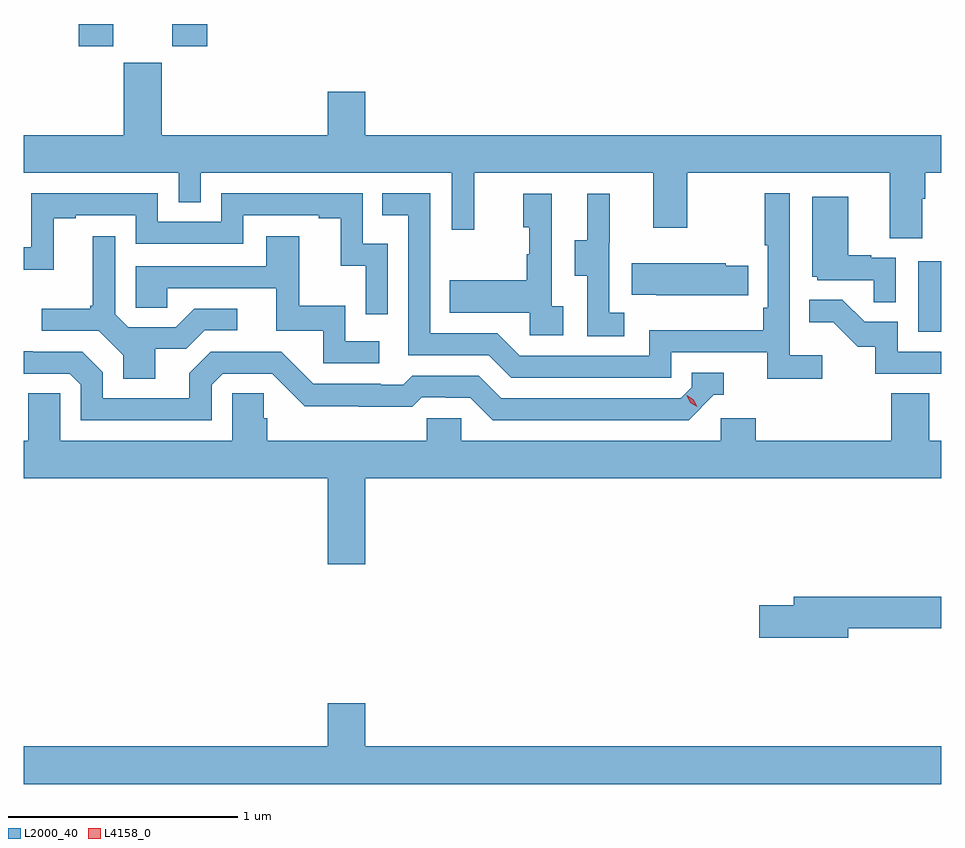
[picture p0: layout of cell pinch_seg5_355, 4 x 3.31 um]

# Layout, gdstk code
import gdstk
lib = gdstk.Library(unit=1e-6, precision=1e-09)
def R(c, l, rs):  # rectangles x0, y0, x1, y1
    for r in rs: c.add(gdstk.rectangle(r[:2], r[2:], *l))
def P(c, l, *ps):  # polygons
    for p in ps: c.add(gdstk.Polygon(p, *l))
L2000_40 = (2000, 40)
L4158_0 = (4158, 0)

pinch_seg5_355 = lib.new_cell('pinch_seg5_355')
R(pinch_seg5_355, L2000_40, [(970.778,885.372,970.879,885.679), (967.118,886.617,967.27,886.713), (967.526,886.617,967.679,886.713)])
P(pinch_seg5_355, L2000_40, [(970.795,885.952),(970.808,885.952),(970.808,886.064),(970.879,886.064),(970.879,886.228),(968.368,886.228),(968.368,886.417),(968.204,886.417),(968.204,886.228),(967.48,886.228),(967.48,886.545),(967.316,886.545),(967.316,886.228),(966.879,886.228),(966.879,886.064),(967.554,886.064),(967.554,885.937),(967.65,885.937),(967.65,886.064),(968.745,886.064),(968.745,885.816),(968.843,885.816),(968.843,886.064),(969.623,886.064),(969.623,885.825),(969.771,885.825),(969.771,886.064),(970.655,886.064),(970.655,885.778),(970.795,885.778)],
  [(970.36,885.268),(970.218,885.268),(970.218,885.976),(970.11,885.976),(970.11,885.748),(970.122,885.748),(970.122,885.475),(970.102,885.475),(970.102,885.379),(969.606,885.379),(969.606,885.267),(969.042,885.267),(968.943,885.366),(968.652,885.366),(968.652,885.975),(968.443,885.975),(968.443,885.879),(968.556,885.879),(968.556,885.27),(968.906,885.27),(969.005,885.171),(969.702,885.171),(969.702,885.282),(970.121,885.282),(970.121,885.166),(970.36,885.166)],
  [(968.466,885.756),(968.358,885.756),(968.358,885.975),(967.74,885.975),(967.74,885.852),(967.464,885.852),(967.464,885.975),(966.912,885.975),(966.912,885.739),(966.879,885.739),(966.879,885.641),(967.009,885.641),(967.009,885.867),(967.105,885.867),(967.105,885.879),(967.368,885.879),(967.368,885.756),(967.836,885.756),(967.836,885.879),(968.165,885.879),(968.165,885.867),(968.261,885.867),(968.261,885.659),(968.37,885.659),(968.37,885.447),(968.466,885.447)],
  [(969.232,885.482),(969.18,885.482),(969.18,885.973),(969.056,885.973),(969.056,885.828),(969.082,885.828),(969.082,885.71),(969.072,885.71),(969.072,885.595),(968.737,885.595),(968.737,885.455),(969.084,885.455),(969.084,885.357),(969.232,885.357)],
  [(969.496,885.455),(969.432,885.455),(969.432,885.759),(969.434,885.759),(969.434,885.973),(969.335,885.973),(969.335,885.771),(969.281,885.771),(969.281,885.616),(969.336,885.616),(969.336,885.352),(969.496,885.352)],
  [(970.68,885.693),(970.574,885.693),(970.574,885.706),(970.474,885.706),(970.474,885.961),(970.316,885.961),(970.316,885.612),(970.338,885.612),(970.338,885.597),(970.585,885.597),(970.585,885.499),(970.68,885.499)],
  [(967.453,885.298),(967.588,885.298),(967.668,885.378),(967.81,885.378),(967.81,885.471),(967.622,885.471),(967.541,885.39),(967.335,885.39),(967.278,885.447),(967.278,885.787),(967.181,885.787),(967.181,885.484),(967.17,885.484),(967.17,885.472),(966.957,885.472),(966.957,885.375),(967.206,885.375),(967.313,885.268),(967.313,885.166),(967.453,885.166)],
  [(968.428,885.33),(968.28,885.33),(968.28,885.484),(968.081,885.484),(968.081,885.787),(967.937,885.787),(967.937,885.657),(967.368,885.657),(967.368,885.477),(967.505,885.477),(967.505,885.561),(967.979,885.561),(967.979,885.375),(968.184,885.375),(968.184,885.234),(968.428,885.234)],
  [(970.037,885.66),(969.939,885.66),(969.939,885.67),(969.529,885.67),(969.529,885.533),(969.637,885.533),(969.637,885.53),(970.037,885.53)],
  [(970.879,885.285),(970.689,885.285),(970.689,885.414),(970.545,885.414),(970.447,885.512),(970.303,885.512),(970.303,885.413),(970.407,885.413),(970.514,885.306),(970.591,885.306),(970.591,885.189),(970.879,885.189)],
  [(967.698,885.141),(967.746,885.189),(967.962,885.189),(968.104,885.047),(968.34,885.047),(968.34,885.045),(968.573,885.045),(968.615,885.087),(968.718,885.087),(968.718,885.084),(968.825,885.084),(968.924,884.985),(969.777,884.985),(969.888,885.096),(969.931,885.096),(969.931,885.192),(969.792,885.192),(969.792,885.129),(969.744,885.081),(968.961,885.081),(968.862,885.18),(968.573,885.18),(968.534,885.141),(968.435,885.141),(968.435,885.144),(968.142,885.144),(968.001,885.285),(967.695,885.285),(967.601,885.191),(967.601,885.081),(967.224,885.081),(967.224,885.195),(967.134,885.285),(966.918,885.285),(966.918,885.287),(966.879,885.287),(966.879,885.189),(967.08,885.189),(967.128,885.141),(967.128,884.985),(967.698,884.985)],
  [(967.94,884.994),(967.925,884.994),(967.925,885.104),(967.788,885.104),(967.788,884.896),(967.038,884.896),(967.038,885.104),(966.899,885.104),(966.899,884.896),(966.879,884.896),(966.879,884.732),(968.204,884.732),(968.204,884.358),(968.368,884.358),(968.368,884.732),(970.879,884.732),(970.879,884.896),(970.826,884.896),(970.826,885.104),(970.661,885.104),(970.661,884.896),(970.07,884.896),(970.07,884.994),(969.918,884.994),(969.918,884.896),(968.787,884.896),(968.787,884.994),(968.637,884.994),(968.637,884.896),(967.94,884.896)],
  [(970.474,884.08),(970.879,884.08),(970.879,884.216),(970.235,884.216),(970.235,884.18),(970.086,884.18),(970.086,884.038),(970.474,884.038)],
  [(970.879,883.564),(968.368,883.564),(968.368,883.753),(968.204,883.753),(968.204,883.564),(966.879,883.564),(966.879,883.4),(970.879,883.4)])
P(pinch_seg5_355, L4158_0, [(969.816,885.044),(969.785,885.063),(969.769,885.095),(969.769,885.095),(969.769,885.095),(969.8,885.076),(969.816,885.044),(969.816,885.044)])

lib.write_gds('pinch_seg5_355.gds')
